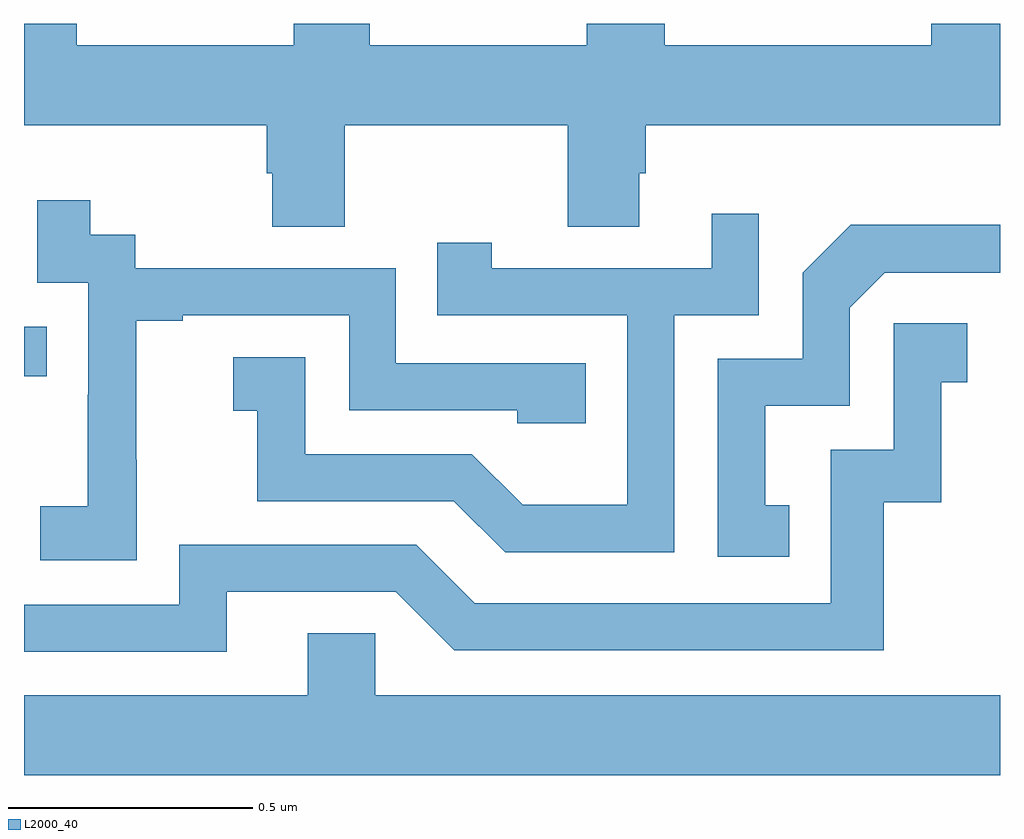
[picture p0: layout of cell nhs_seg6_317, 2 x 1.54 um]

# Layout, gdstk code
import gdstk
lib = gdstk.Library(unit=1e-6, precision=1e-09)
def R(c, l, rs):  # rectangles x0, y0, x1, y1
    for r in rs: c.add(gdstk.rectangle(r[:2], r[2:], *l))
def P(c, l, *ps):  # polygons
    for p in ps: c.add(gdstk.Polygon(p, *l))
L2000_40 = (2000, 40)

nhs_seg6_317 = lib.new_cell('nhs_seg6_317')
R(nhs_seg6_317, L2000_40, [(114,990.778,114.047,990.879)])
P(nhs_seg6_317, L2000_40, [(114.657,991.292),(115.114,991.292),(115.114,991.084),(115.261,991.084),(115.261,991.194),(115.274,991.194),(115.274,991.292),(116,991.292),(116,991.5),(115.859,991.5),(115.859,991.456),(115.313,991.456),(115.313,991.5),(115.153,991.5),(115.153,991.456),(114.708,991.456),(114.708,991.5),(114.553,991.5),(114.553,991.456),(114.108,991.456),(114.108,991.5),(114,991.5),(114,991.292),(114.497,991.292),(114.497,991.194),(114.509,991.194),(114.509,991.084),(114.657,991.084)],
  [(114.231,990.607),(114.23,990.607),(114.23,990.891),(114.325,990.891),(114.325,990.903),(114.666,990.903),(114.666,990.708),(115.011,990.708),(115.011,990.681),(115.151,990.681),(115.151,990.804),(114.762,990.804),(114.762,990.999),(114.228,990.999),(114.228,991.068),(114.136,991.068),(114.136,991.138),(114.027,991.138),(114.027,990.969),(114.132,990.969),(114.132,990.74),(114.131,990.74),(114.131,990.511),(114.033,990.511),(114.033,990.401),(114.231,990.401)],
  [(115.332,990.903),(115.506,990.903),(115.506,991.111),(115.409,991.111),(115.409,990.999),(114.958,990.999),(114.958,991.051),(114.847,991.051),(114.847,990.903),(115.236,990.903),(115.236,990.514),(115.022,990.514),(114.918,990.618),(114.576,990.618),(114.576,990.817),(114.429,990.817),(114.429,990.707),(114.478,990.707),(114.478,990.522),(114.881,990.522),(114.986,990.417),(115.332,990.417)],
  [(115.568,990.513),(115.519,990.513),(115.519,990.717),(115.692,990.717),(115.692,990.918),(115.764,990.99),(116,990.99),(116,991.088),(115.694,991.088),(115.596,990.99),(115.596,990.813),(115.422,990.813),(115.422,990.408),(115.568,990.408)],
  [(114.415,990.336),(114.762,990.336),(114.882,990.216),(115.762,990.216),(115.762,990.519),(115.88,990.519),(115.88,990.765),(115.933,990.765),(115.933,990.886),(115.782,990.886),(115.782,990.627),(115.653,990.627),(115.653,990.312),(114.924,990.312),(114.804,990.432),(114.318,990.432),(114.318,990.309),(114,990.309),(114,990.213),(114.415,990.213)],
  [(116,990.124),(114.72,990.124),(114.72,990.251),(114.581,990.251),(114.581,990.124),(114,990.124),(114,989.96),(116,989.96)])

lib.write_gds('nhs_seg6_317.gds')
